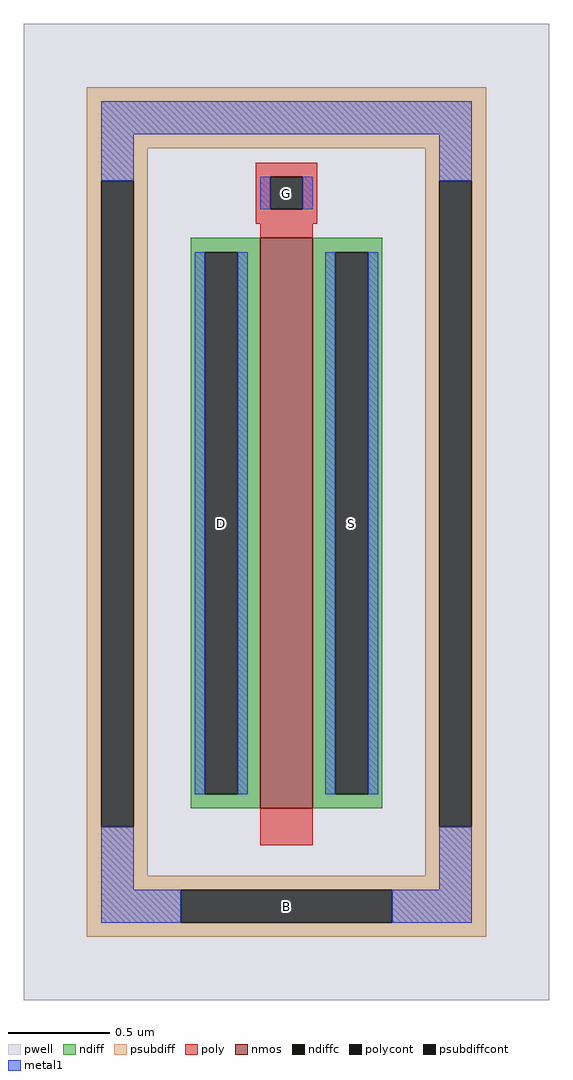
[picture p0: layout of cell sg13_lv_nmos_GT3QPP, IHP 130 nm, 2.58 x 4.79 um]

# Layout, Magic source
magic
tech ihp-sg13cmos5l
magscale 1 2
<< pwell >>
rect -258 -487 258 471
<< nmos >>
rect -26 -299 26 261
<< ndiff >>
rect -94 247 -26 261
rect -94 -285 -80 247
rect -48 -285 -26 247
rect -94 -299 -26 -285
rect 26 247 94 261
rect 26 -285 48 247
rect 80 -285 94 247
rect 26 -299 94 -285
<< ndiffc >>
rect -80 -285 -48 247
rect 48 -285 80 247
<< psubdiff >>
rect -196 349 196 409
rect -196 317 -136 349
rect -196 -317 -182 317
rect -150 -317 -136 317
rect 136 317 196 349
rect -196 -365 -136 -317
rect 136 -317 150 317
rect 182 -317 196 317
rect 136 -365 196 -317
rect -196 -379 196 -365
rect -196 -411 -104 -379
rect 104 -411 196 -379
rect -196 -425 196 -411
<< psubdiffcont >>
rect -182 -317 -150 317
rect 150 -317 182 317
rect -104 -411 104 -379
<< poly >>
rect -30 321 30 335
rect -30 289 -16 321
rect 16 289 30 321
rect -30 275 30 289
rect -26 261 26 275
rect -26 -335 26 -299
<< polycont >>
rect -16 289 16 321
<< metal1 >>
rect -182 363 182 395
rect -182 317 -150 363
rect -26 289 -16 321
rect 16 289 26 321
rect 150 317 182 363
rect -90 -285 -80 247
rect -48 -285 -38 247
rect 38 -285 48 247
rect 80 -285 90 247
rect -182 -379 -150 -317
rect 150 -379 182 -317
rect -182 -411 -104 -379
rect 104 -411 182 -379
<< labels >>
rlabel ndiffc -64 -19 -64 -19 0 D
port 2 nsew
rlabel ndiffc 64 -19 64 -19 0 S
port 3 nsew
rlabel polycont 0 305 0 305 0 G
port 4 nsew
rlabel psubdiffcont 0 -395 0 -395 0 B
port 1 nsew
<< properties >>
string FIXED_BBOX -166 -379 166 379
string gencell sg13_lv_nmos
string library sg13cmos5l
string parameters w 2.8 l 0.26 m 1 ng 1 diffcov 100 polycov 100 guard 1 glc 1 grc 1 gtc 0 gbc 1 tbcov 100 rlcov 100 topc 1 botc 0 poverlap 0 doverlap 1 lmin 0.13 wmin 0.15 class mosfet compatible {sg13_lv_nmos sg13_hv_nmos} full_metal 1 conn_gates 0 gate_ring 0 doports 1 viasrc 0 viadrn 0 viagate 0 ccols 1 viagb 0 viagr 0 viagl 0 viagt 0
<< end >>
